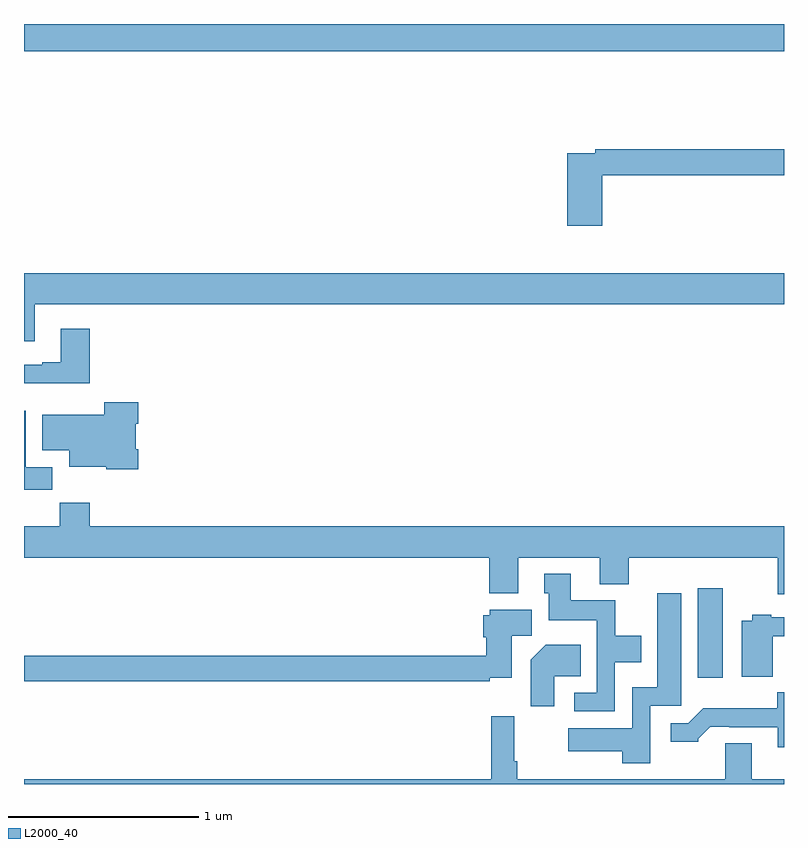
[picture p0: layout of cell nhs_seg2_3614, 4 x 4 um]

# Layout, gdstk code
import gdstk
lib = gdstk.Library(unit=1e-6, precision=1e-09)
def R(c, l, rs):  # rectangles x0, y0, x1, y1
    for r in rs: c.add(gdstk.rectangle(r[:2], r[2:], *l))
def P(c, l, *ps):  # polygons
    for p in ps: c.add(gdstk.Polygon(p, *l))
L2000_40 = (2000, 40)

nhs_seg2_3614 = lib.new_cell('nhs_seg2_3614')
R(nhs_seg2_3614, L2000_40, [(304.547,624.36,304.678,624.829), (301,627.656,305,627.8)])
P(nhs_seg2_3614, L2000_40, [(304.043,627.004),(305,627.004),(305,627.14),(304.006,627.14),(304.006,627.12),(303.86,627.12),(303.86,626.739),(304.043,626.739)],
  [(301.057,626.324),(305,626.324),(305,626.488),(301,626.488),(301,626.13),(301.057,626.13)],
  [(301.346,626.197),(301.193,626.197),(301.193,626.02),(301.097,626.02),(301.097,626.007),(301,626.007),(301,625.91),(301.346,625.91)],
  [(301.601,625.561),(301.588,625.561),(301.588,625.697),(301.601,625.697),(301.601,625.81),(301.423,625.81),(301.423,625.744),(301.097,625.744),(301.097,625.556),(301.238,625.556),(301.238,625.469),(301.434,625.469),(301.434,625.457),(301.601,625.457)],
  [(301.148,625.468),(301.009,625.468),(301.009,625.765),(301,625.765),(301,625.35),(301.148,625.35)],
  [(305,625.156),(301.346,625.156),(301.346,625.28),(301.189,625.28),(301.189,625.156),(301,625.156),(301,624.992),(303.449,624.992),(303.449,624.803),(303.601,624.803),(303.601,624.992),(304.031,624.992),(304.031,624.851),(304.184,624.851),(304.184,624.992),(304.967,624.992),(304.967,624.798),(305,624.798)],
  [(304.11,624.44),(304.249,624.44),(304.249,624.58),(304.113,624.58),(304.113,624.766),(303.877,624.766),(303.877,624.907),(303.737,624.907),(303.737,624.804),(303.761,624.804),(303.761,624.662),(304.014,624.662),(304.014,624.279),(303.897,624.279),(303.897,624.183),(304.11,624.183)],
  [(304.296,624.213),(304.459,624.213),(304.459,624.805),(304.334,624.805),(304.334,624.31),(304.2,624.31),(304.2,624.094),(303.864,624.094),(303.864,623.972),(304.148,623.972),(304.148,623.91),(304.296,623.91)],
  [(303.452,624.359),(303.568,624.359),(303.568,624.58),(303.673,624.58),(303.673,624.718),(303.45,624.718),(303.45,624.687),(303.416,624.687),(303.416,624.573),(303.434,624.573),(303.434,624.476),(301,624.476),(301,624.34),(303.452,624.34)],
  [(304.94,624.577),(305,624.577),(305,624.678),(304.933,624.678),(304.933,624.691),(304.833,624.691),(304.833,624.658),(304.778,624.658),(304.778,624.365),(304.94,624.365)],
  [(303.79,624.368),(303.929,624.368),(303.929,624.532),(303.746,624.532),(303.668,624.454),(303.668,624.21),(303.79,624.21)],
  [(305,624.283),(304.965,624.283),(304.965,624.199),(304.576,624.199),(304.497,624.12),(304.404,624.12),(304.404,624.023),(304.548,624.023),(304.548,624.038),(304.612,624.102),(304.711,624.102),(304.711,624.099),(304.967,624.099),(304.967,623.994),(305,623.994)],
  [(305,623.824),(304.831,623.824),(304.831,624.014),(304.691,624.014),(304.691,623.824),(303.596,623.824),(303.596,623.92),(303.581,623.92),(303.581,624.157),(303.46,624.157),(303.46,623.824),(301,623.824),(301,623.8),(305,623.8)])

lib.write_gds('nhs_seg2_3614.gds')
